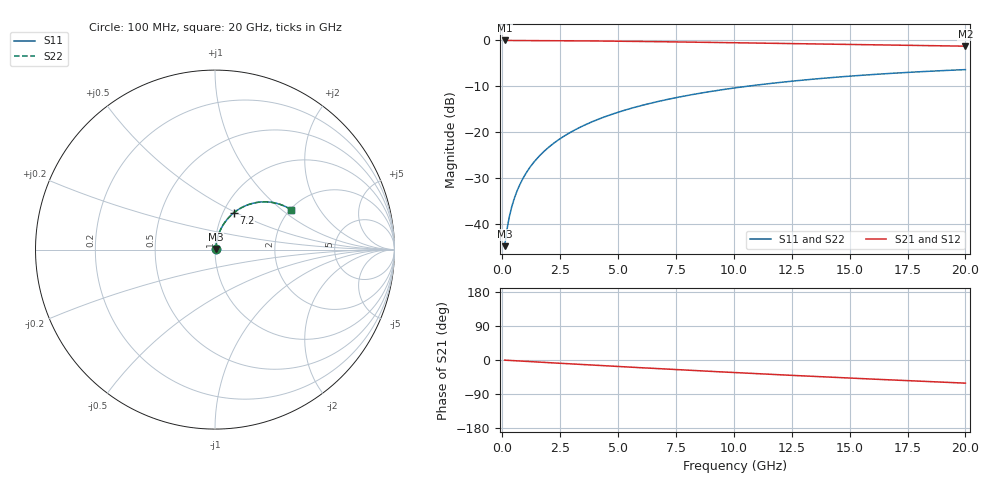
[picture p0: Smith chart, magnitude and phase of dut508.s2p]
! Touchstone file exported from HFSS 2026.1.0
!  File:  C:/ffzhzh/LocalFiles/Ansys_Project_Files/temp_train_TMRDL_508_1783006874_53980.aedt
!  Generated:  11:42:49 PM Jul  2, 2026
!  Design:  TMRDL
!  Project:  temp_train_TMRDL_508_1783006874_53980
! Variables:
!  h_bsmrdl = 2um
!  h_ox = 20um
!  h_rdl = 5um
!  h_sub = 80um
!  h_tmrdl = 3.96um
!  h_tsv = 80um
!  h_via = 3um
!  l_bsmrdl = 300um
!  l_sub = 1376.29um
!  l_tmrdl = 976.29um
!  m_sub = 200um
!  pitch = 46.03um
!  r_tsv = 6um
!  s_tmrdl = 10um
!  w_bsmrdl = 18um
!  w_sub = 500um
!  w_tmrdl = 20.8um
!  x_tsv_center1 = 986.69um
!  x_tsv_center2 = 1304.69um
!  x_tsv_center3 = 2301.78um
!  x_tsv_center4 = 2619.78um
!  x_tsv_center5 = 3616.87um
!  x_tsv_center6 = 3934.87um
# GHz S MA R 50.000000
! Terminal data exported
! Port[1] = TM_RDL1_1_T1
! Port[2] = TM_RDL1_1_T2
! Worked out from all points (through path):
!   200 points, 100 MHz to 20 GHz, reference 50 ohm
!   highest |S21| = -0.04 dB at 100 MHz (marker M1); lowest = -1.3 dB at 20 GHz (marker M2)
!   group delay of S21, straight-line fit = 8.48 ps
!   lowest |S11| = -44.8 dB at 100 MHz (marker M3), VSWR 1.01, Z = 50.4 + j0.378 ohm
!   |S11| at or under -10 dB: start of sweep to 10.58 GHz
!   |S22| runs from -44.8 to -6.4 dB; largest |S21 - S12| = 6.4e-15
!   S11 on the Smith chart (normalised r, x): 100 MHz: 1.01, +0.01; 7.2 GHz: 1.12, +0.48; 20 GHz: 2.04, +1.17
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0.1  0.005761 40.5  0.9956 -0.4  0.9956 -0.4  0.005761 40.5
! Gamma 0 0 0 0
! Port Impedance 50 0 50 0
0.2  0.008712 57.5  0.9954 -0.7  0.9954 -0.7  0.008712 57.5
0.3  0.01192 65.1  0.9951 -1.1  0.9951 -1.1  0.01192 65.1
0.4  0.01517 69.3  0.9949 -1.4  0.9949 -1.4  0.01517 69.3
0.5  0.01843 72.0  0.9947 -1.8  0.9947 -1.8  0.01843 72.0
0.6  0.02172 73.9  0.9945 -2.1  0.9945 -2.1  0.02172 73.9
0.8  0.02834 76.2  0.9942 -2.8  0.9942 -2.8  0.02834 76.2
1.1  0.03836 77.8  0.9937 -3.8  0.9937 -3.8  0.03836 77.8
1.3  0.04506 78.2  0.9933 -4.5  0.9933 -4.5  0.04507 78.2
1.6  0.05513 78.3  0.9926 -5.6  0.9926 -5.6  0.05513 78.3
2.1  0.07184 77.7  0.9912 -7.3  0.9912 -7.3  0.07184 77.7
2.7  0.09171 76.4  0.9891 -9.4  0.9891 -9.4  0.09171 76.4
3.5  0.1178 74.3  0.9856 -12.1  0.9856 -12.1  0.1178 74.3
4.2  0.14 72.3  0.9821 -14.4  0.9821 -14.4  0.14 72.2
5  0.1649 69.8  0.9775 -17.1  0.9775 -17.1  0.1649 69.8
6.8  0.218 64.3  0.9655 -23.0  0.9655 -23.0  0.218 64.3
7.2  0.2293 63.0  0.9626 -24.3  0.9626 -24.3  0.2293 63.0
8.6  0.2671 58.8  0.9519 -28.7  0.9519 -28.7  0.2671 58.8
10.1  0.3048 54.3  0.9398 -33.3  0.9398 -33.3  0.3048 54.3
13.4  0.3773 44.9  0.9123 -43.1  0.9123 -43.1  0.3773 44.8
16.7  0.4353 35.9  0.886 -52.3  0.886 -52.3  0.4354 35.9
20  0.4798 27.4  0.863 -61.1  0.863 -61.1  0.4798 27.3
